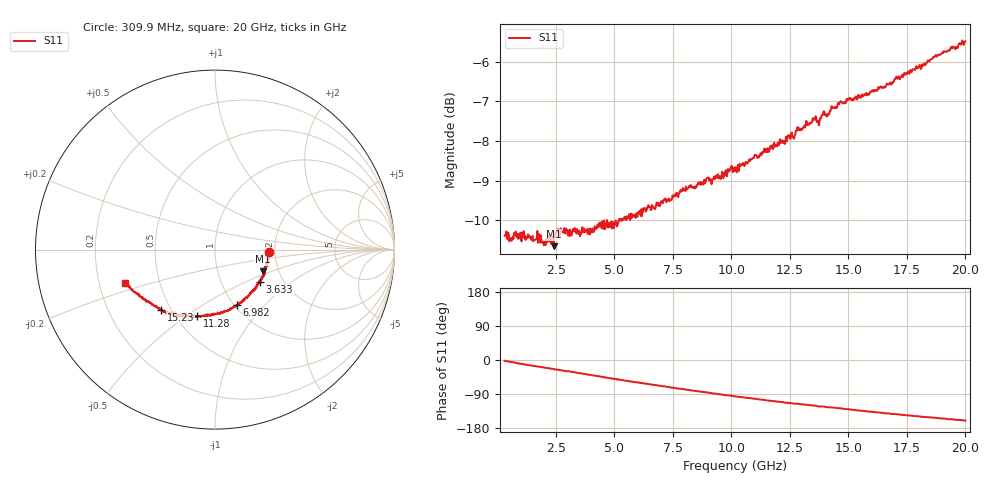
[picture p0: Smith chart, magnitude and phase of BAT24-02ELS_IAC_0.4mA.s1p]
! Infineon Technologies  Discrete & RF Semiconductors
! BAT24-02ELS
! IAC = 0.4 mA
! One-Port S-Parameters
# Hz  S  MA  R  50
!f  S11
!Hz  Mag  Ang
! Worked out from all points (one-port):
!   789 points, 309.9 MHz to 20 GHz, reference 50 ohm
!   lowest |S11| = -10.6 dB at 2.409 GHz (marker M1), VSWR 1.83, Z = 82.9 - j21.9 ohm
!   |S11| at or under -10 dB: start of sweep to 4.68 GHz; 4.684 GHz to 5.189 GHz (504.9 MHz wide, 10.2 % of centre); 5.230912 GHz to 5.234699 GHz (3.787 MHz wide, 0.0724 % of centre)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
!   S11 on the Smith chart (normalised r, x): 309.9 MHz: 1.87, -0.04; 3.633 GHz: 1.53, -0.61; 6.982 GHz: 1.03, -0.72; 11.28 GHz: 0.64, -0.55; 15.23 GHz: 0.44, -0.37; 20 GHz: 0.31, -0.16
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3.0985e8  0.3027 -2.0
5.847125e8  0.2989 -5.2
7.846125e8  0.3063 -7.1
1.134438e9  0.3066 -11.2
1.984012e9  0.2942 -19.4
2.4088e9  0.2935 -24.3
2.533738e9  0.3068 -25.2
2.783612e9  0.3058 -28.1
3.633188e9  0.3101 -35.7
5.232388e9  0.3161 -52.2
6.981512e9  0.3333 -68.2
7.70615e9  0.3395 -75.0
8.980512e9  0.3582 -85.5
1.015492e10  0.3667 -96.1
1.127936e10  0.3821 -104.8
1.262869e10  0.4029 -114.8
1.282859e10  0.4148 -115.4
1.355322e10  0.4256 -120.2
1.372814e10  0.418 -122.5
1.392804e10  0.4323 -122.7
1.410295e10  0.4279 -124.5
1.462769e10  0.4453 -127.5
1.507746e10  0.451 -130.4
1.522739e10  0.4483 -131.7
1.710145e10  0.4768 -143.5
1.755122e10  0.4872 -145.8
1.870065e10  0.5088 -152.5
2e10  0.5318 -159.8
